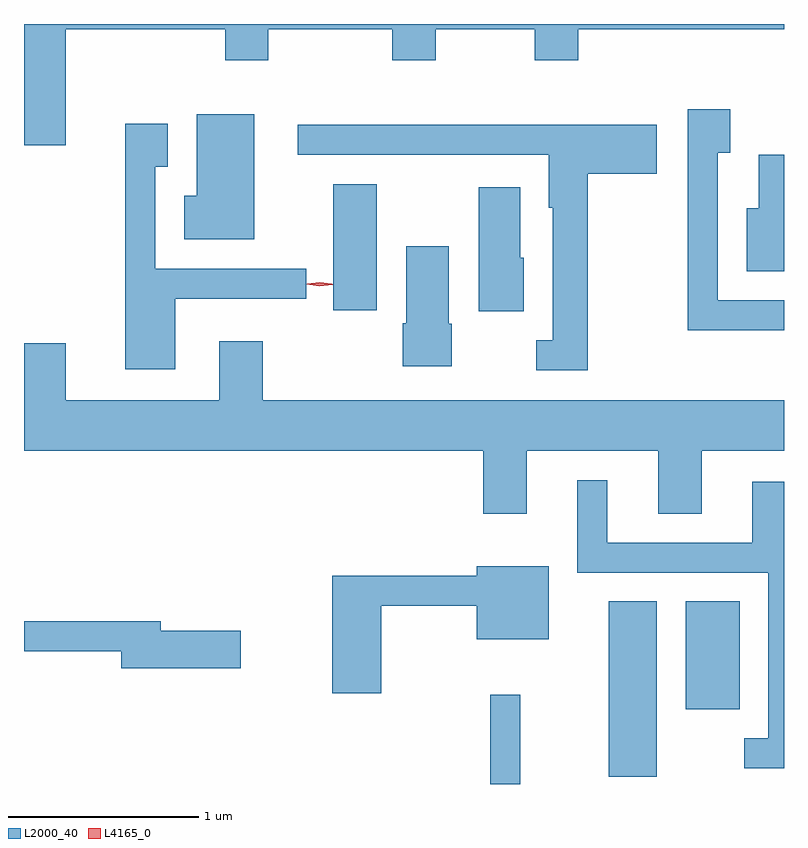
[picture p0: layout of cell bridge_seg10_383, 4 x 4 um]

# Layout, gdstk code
import gdstk
lib = gdstk.Library(unit=1e-6, precision=1e-09)
def R(c, l, rs):  # rectangles x0, y0, x1, y1
    for r in rs: c.add(gdstk.rectangle(r[:2], r[2:], *l))
def P(c, l, *ps):  # polygons
    for p in ps: c.add(gdstk.Polygon(p, *l))
L2000_40 = (2000, 40)
L4165_0 = (4165, 0)

bridge_seg10_383 = lib.new_cell('bridge_seg10_383')
R(bridge_seg10_383, L2000_40, [(1336.456,2123.263,1336.614,2123.733), (1337.081,2123.301,1337.334,2124.224), (1337.486,2123.656,1337.769,2124.224), (1335.631,2125.756,1335.859,2126.419)])
P(bridge_seg10_383, L2000_40, [(1334.224,2127.236),(1335.061,2127.236),(1335.061,2127.071),(1335.289,2127.071),(1335.289,2127.236),(1335.941,2127.236),(1335.941,2127.071),(1336.169,2127.071),(1336.169,2127.236),(1336.691,2127.236),(1336.691,2127.071),(1336.919,2127.071),(1336.919,2127.236),(1338.003,2127.236),(1338.003,2127.263),(1334.003,2127.263),(1334.003,2126.626),(1334.224,2126.626)],
  [(1338.003,2125.809),(1337.654,2125.809),(1337.654,2126.586),(1337.719,2126.586),(1337.719,2126.814),(1337.496,2126.814),(1337.496,2125.651),(1338.003,2125.651)],
  [(1335.214,2126.789),(1334.911,2126.789),(1334.911,2126.359),(1334.846,2126.359),(1334.846,2126.131),(1335.214,2126.131)],
  [(1334.799,2125.816),(1335.488,2125.816),(1335.488,2125.974),(1334.694,2125.974),(1334.694,2126.511),(1334.759,2126.511),(1334.759,2126.739),(1334.536,2126.739),(1334.536,2125.446),(1334.799,2125.446)],
  [(1336.969,2126.476),(1337.334,2126.476),(1337.334,2126.734),(1335.443,2126.734),(1335.443,2126.576),(1336.766,2126.576),(1336.766,2126.296),(1336.786,2126.296),(1336.786,2125.599),(1336.698,2125.599),(1336.698,2125.441),(1336.969,2125.441)],
  [(1338.003,2126.574),(1337.871,2126.574),(1337.871,2126.294),(1337.806,2126.294),(1337.806,2125.961),(1338.003,2125.961)],
  [(1336.634,2126.034),(1336.614,2126.034),(1336.614,2126.404),(1336.396,2126.404),(1336.396,2125.751),(1336.634,2125.751)],
  [(1336.254,2125.685),(1336.239,2125.685),(1336.239,2126.094),(1336.016,2126.094),(1336.016,2125.689),(1335.996,2125.689),(1335.996,2125.461),(1336.254,2125.461)],
  [(1336.649,2125.016),(1337.341,2125.016),(1337.341,2124.686),(1337.569,2124.686),(1337.569,2125.016),(1338.003,2125.016),(1338.003,2125.284),(1335.259,2125.284),(1335.259,2125.594),(1335.031,2125.594),(1335.031,2125.284),(1334.224,2125.284),(1334.224,2125.584),(1334.003,2125.584),(1334.003,2125.016),(1336.421,2125.016),(1336.421,2124.686),(1336.649,2124.686)],
  [(1338.003,2124.854),(1337.836,2124.854),(1337.836,2124.534),(1337.074,2124.534),(1337.074,2124.863),(1336.916,2124.863),(1336.916,2124.376),(1337.921,2124.376),(1337.921,2123.504),(1337.793,2123.504),(1337.793,2123.346),(1338.003,2123.346)],
  [(1335.884,2124.201),(1336.386,2124.201),(1336.386,2124.026),(1336.764,2124.026),(1336.764,2124.409),(1336.386,2124.409),(1336.386,2124.359),(1335.626,2124.359),(1335.626,2123.741),(1335.884,2123.741)],
  [(1335.144,2124.069),(1334.724,2124.069),(1334.724,2124.119),(1334.003,2124.119),(1334.003,2123.961),(1334.516,2123.961),(1334.516,2123.871),(1335.144,2123.871)])
P(bridge_seg10_383, L4165_0, [(1335.558,2125.882),(1335.49,2125.892),(1335.49,2125.892),(1335.49,2125.893),(1335.558,2125.902),(1335.627,2125.892),(1335.628,2125.892),(1335.627,2125.891)],
  [(1335.559,2125.885),(1335.494,2125.894),(1335.493,2125.895),(1335.494,2125.896),(1335.559,2125.904),(1335.624,2125.895),(1335.625,2125.894),(1335.624,2125.894)])

lib.write_gds('bridge_seg10_383.gds')
